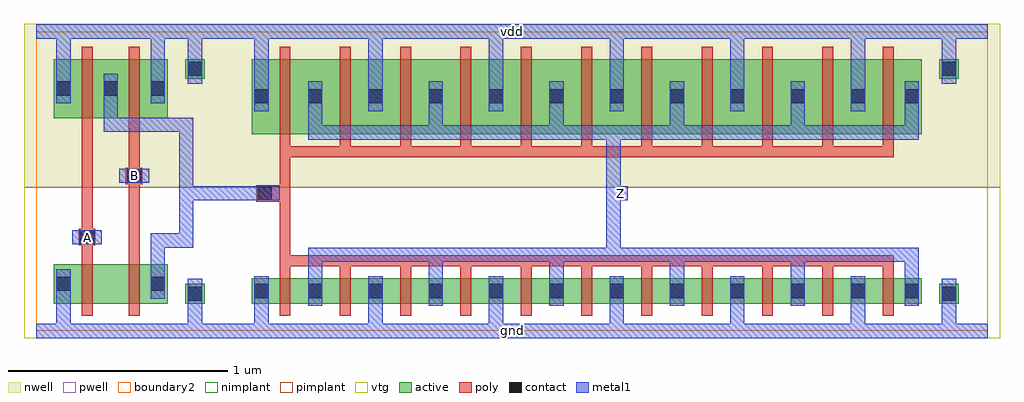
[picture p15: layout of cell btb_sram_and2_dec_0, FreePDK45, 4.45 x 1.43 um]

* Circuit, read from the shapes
.subckt btb_sram_and2_dec_0 A B Z gnd vdd
M1 btb_sram_pnand2_0/btb_sram_nmos_m1_w0_180_sm1_dactive_2/D A gnd gnd nfet w=0.18u l=0.05u
M2 btb_sram_pinv_0_1/A B btb_sram_pnand2_0/btb_sram_nmos_m1_w0_180_sm1_dactive_2/D gnd nfet w=0.18u l=0.05u
M3 Z btb_sram_pinv_0_1/A gnd gnd nfet w=0.115u l=0.05u m=11
M4 btb_sram_pinv_0_1/A A vdd vdd pfet w=0.27u l=0.05u
M5 vdd B btb_sram_pinv_0_1/A vdd pfet w=0.27u l=0.05u
M6 Z btb_sram_pinv_0_1/A vdd vdd pfet w=0.3425u l=0.05u m=11
.ends

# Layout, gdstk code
import gdstk
lib = gdstk.Library(unit=1e-6, precision=5e-10)
def R(c, l, rs):  # rectangles x0, y0, x1, y1
    for r in rs: c.add(gdstk.rectangle(r[:2], r[2:], *l))
def A(c, l, x, y, w, h, nx, ny, dx, dy):  # array of equal rectangles
    R(c, l, [(x+i*dx, y+j*dy, x+i*dx+w, y+j*dy+h) for i in range(nx) for j in range(ny)])
active = (1, 0)
pwell = (2, 0)
nwell = (3, 0)
nimplant = (4, 0)
pimplant = (5, 0)
vtg = (6, 0)
poly = (9, 0)
contact = (10, 0)
metal1 = (11, 0)
boundary2 = (239, 0)

btb_sram_contact_11 = lib.new_cell('btb_sram_contact_11')
R(btb_sram_contact_11, active, [(0,0.0225,0.09,0.1125)])
R(btb_sram_contact_11, nwell, [(-0.055,-0.0325,0.145,0.1675)])
R(btb_sram_contact_11, pimplant, [(0,0.0225,0.09,0.1125)])
R(btb_sram_contact_11, contact, [(0.0125,0.035,0.0775,0.1)])
R(btb_sram_contact_11, metal1, [(0.0125,0,0.0775,0.135)])
R(btb_sram_contact_11, boundary2, [(-0.055,-0.0325,0.145,0.1675)])

btb_sram_pmos_m1_w0_270_ = lib.new_cell('btb_sram_pmos_m1_w0_270_sm1_dm1')
R(btb_sram_pmos_m1_w0_270_, active, [(0,0,0.305,0.27)])
R(btb_sram_pmos_m1_w0_270_, nwell, [(-0.08,-0.08,0.385,0.35)])
R(btb_sram_pmos_m1_w0_270_, pimplant, [(0,0,0.305,0.27)])
R(btb_sram_pmos_m1_w0_270_, vtg, [(-0.08,-0.08,0.385,0.35)])
R(btb_sram_pmos_m1_w0_270_, poly, [(0.1275,-0.055,0.1775,0.325), (0.1275,-0.055,0.1775,0.325)])
R(btb_sram_pmos_m1_w0_270_, metal1, [(0.0125,0.0675,0.0775,0.2025), (0.2275,0.0675,0.2925,0.2025)])
R(btb_sram_pmos_m1_w0_270_, boundary2, [(-0.08,-0.08,0.385,0.35)])
btb_sram_pmos_m1_w0_270_.add(gdstk.Reference(btb_sram_contact_11, (0,0.0675)))
btb_sram_pmos_m1_w0_270_.add(gdstk.Reference(btb_sram_contact_11, (0.215,0.0675)))
btb_sram_pmos_m1_w0_270_.add(gdstk.Label('G', (0.1525,0.135), layer=9, texttype=0))
btb_sram_pmos_m1_w0_270_.add(gdstk.Label('S', (0.045,0.135), layer=11, texttype=0))
btb_sram_pmos_m1_w0_270_.add(gdstk.Label('D', (0.26,0.135), layer=11, texttype=0))

btb_sram_contact_10 = lib.new_cell('btb_sram_contact_10')
R(btb_sram_contact_10, active, [(0,0.0225,0.09,0.1125)])
R(btb_sram_contact_10, pwell, [(-0.055,-0.0325,0.145,0.1675)])
R(btb_sram_contact_10, nimplant, [(0,0.0225,0.09,0.1125)])
R(btb_sram_contact_10, contact, [(0.0125,0.035,0.0775,0.1)])
R(btb_sram_contact_10, metal1, [(0.0125,0,0.0775,0.135)])
R(btb_sram_contact_10, boundary2, [(-0.055,-0.0325,0.145,0.1675)])

btb_sram_nmos_m1_w0_180_ = lib.new_cell('btb_sram_nmos_m1_w0_180_sm1_dactive')
R(btb_sram_nmos_m1_w0_180_, active, [(0,0,0.305,0.18), (0.215,0.045,0.305,0.135)])
R(btb_sram_nmos_m1_w0_180_, pwell, [(-0.08,-0.08,0.385,0.26)])
R(btb_sram_nmos_m1_w0_180_, nimplant, [(0,0,0.305,0.18)])
R(btb_sram_nmos_m1_w0_180_, vtg, [(-0.08,-0.08,0.385,0.26)])
R(btb_sram_nmos_m1_w0_180_, poly, [(0.1275,-0.055,0.1775,0.235), (0.1275,-0.055,0.1775,0.235)])
R(btb_sram_nmos_m1_w0_180_, metal1, [(0.0125,0.0225,0.0775,0.1575)])
R(btb_sram_nmos_m1_w0_180_, boundary2, [(-0.08,-0.08,0.385,0.26)])
btb_sram_nmos_m1_w0_180_.add(gdstk.Reference(btb_sram_contact_10, (0,0.0225)))
btb_sram_nmos_m1_w0_180_.add(gdstk.Label('G', (0.1525,0.09), layer=9, texttype=0))
btb_sram_nmos_m1_w0_180_.add(gdstk.Label('S', (0.045,0.09), layer=11, texttype=0))
btb_sram_nmos_m1_w0_180_.add(gdstk.Label('D', (0.26,0.09), layer=1, texttype=0))

c_btb_sram_nmos_m1_w0_180_ = lib.new_cell('btb_sram_nmos_m1_w0_180_sactive_dm1')
R(c_btb_sram_nmos_m1_w0_180_, active, [(0,0,0.305,0.18), (0,0.045,0.09,0.135)])
R(c_btb_sram_nmos_m1_w0_180_, pwell, [(-0.08,-0.08,0.385,0.26)])
R(c_btb_sram_nmos_m1_w0_180_, nimplant, [(0,0,0.305,0.18)])
R(c_btb_sram_nmos_m1_w0_180_, vtg, [(-0.08,-0.08,0.385,0.26)])
R(c_btb_sram_nmos_m1_w0_180_, poly, [(0.1275,-0.055,0.1775,0.235), (0.1275,-0.055,0.1775,0.235)])
R(c_btb_sram_nmos_m1_w0_180_, metal1, [(0.2275,0.0225,0.2925,0.1575)])
R(c_btb_sram_nmos_m1_w0_180_, boundary2, [(-0.08,-0.08,0.385,0.26)])
c_btb_sram_nmos_m1_w0_180_.add(gdstk.Reference(btb_sram_contact_10, (0.215,0.0225)))
c_btb_sram_nmos_m1_w0_180_.add(gdstk.Label('G', (0.1525,0.09), layer=9, texttype=0))
c_btb_sram_nmos_m1_w0_180_.add(gdstk.Label('S', (0.045,0.09), layer=1, texttype=0))
c_btb_sram_nmos_m1_w0_180_.add(gdstk.Label('D', (0.26,0.09), layer=11, texttype=0))

btb_sram_contact_12 = lib.new_cell('btb_sram_contact_12')
R(btb_sram_contact_12, active, [(0,0.0225,0.09,0.1125)])
R(btb_sram_contact_12, nwell, [(-0.055,-0.0325,0.145,0.1675)])
R(btb_sram_contact_12, nimplant, [(0,0.0225,0.09,0.1125)])
R(btb_sram_contact_12, contact, [(0.0125,0.035,0.0775,0.1)])
R(btb_sram_contact_12, metal1, [(0.0125,0,0.0775,0.135)])
R(btb_sram_contact_12, boundary2, [(-0.055,-0.0325,0.145,0.1675)])

btb_sram_contact_13 = lib.new_cell('btb_sram_contact_13')
R(btb_sram_contact_13, active, [(0,0.0225,0.09,0.1125)])
R(btb_sram_contact_13, pwell, [(-0.055,-0.0325,0.145,0.1675)])
R(btb_sram_contact_13, pimplant, [(0,0.0225,0.09,0.1125)])
R(btb_sram_contact_13, contact, [(0.0125,0.035,0.0775,0.1)])
R(btb_sram_contact_13, metal1, [(0.0125,0,0.0775,0.135)])
R(btb_sram_contact_13, boundary2, [(-0.055,-0.0325,0.145,0.1675)])

btb_sram_contact_14 = lib.new_cell('btb_sram_contact_14')
R(btb_sram_contact_14, poly, [(0.03,0,0.105,0.075)])
R(btb_sram_contact_14, contact, [(0.035,0.005,0.1,0.07)])
R(btb_sram_contact_14, metal1, [(0,0.005,0.135,0.07)])
R(btb_sram_contact_14, boundary2, [(0,0,0.135,0.075)])

btb_sram_pnand2 = lib.new_cell('btb_sram_pnand2')
R(btb_sram_pnand2, pwell, [(-0.055,-0.0325,0.9575,0.655)])
R(btb_sram_pnand2, nwell, [(-0.055,0.655,0.9575,1.4)])
R(btb_sram_pnand2, vtg, [(-0.055,-0.0325,0.9575,0.655), (-0.055,0.655,0.9575,1.4)])
R(btb_sram_pnand2, poly, [(0.2075,0.36,0.2575,0.915), (0.4225,0.36,0.4725,0.915), (0.2075,0.39,0.2325,0.465), (0.4225,0.67,0.4475,0.745)])
R(btb_sram_pnand2, metal1, [(0,-0.0325,0.9025,0.0325), (0.0925,-0.0325,0.1575,0.1475), (0.6925,0,0.7575,0.17), (0.5225,0.2825,0.5875,0.4125), (0.5225,0.38,0.5875,0.445), (0.555,0.38,0.685,0.445), (0.6525,0.38,0.7175,0.445), (0.165,0.395,0.3,0.46), (0.6525,0.4125,0.7175,0.94), (0.38,0.675,0.515,0.74), (0.3075,0.9075,0.3725,0.9725), (0.34,0.9075,0.685,0.9725), (0.6525,0.9075,0.7175,0.9725), (0.3075,0.94,0.3725,1.0375), (0.0925,1.0375,0.1575,1.3975), (0.5225,1.0375,0.5875,1.3975), (0.6925,1.195,0.7575,1.365), (0,1.3325,0.9025,1.3975)])
R(btb_sram_pnand2, boundary2, [(0,0,0.9025,1.365), (0,0,0.9025,1.365)])
btb_sram_pnand2.add(gdstk.Reference(btb_sram_pmos_m1_w0_270_, (0.08,0.97)))
btb_sram_pnand2.add(gdstk.Reference(btb_sram_pmos_m1_w0_270_, (0.295,0.97)))
btb_sram_pnand2.add(gdstk.Reference(btb_sram_nmos_m1_w0_180_, (0.08,0.125)))
btb_sram_pnand2.add(gdstk.Reference(c_btb_sram_nmos_m1_w0_180_, (0.295,0.125)))
btb_sram_pnand2.add(gdstk.Reference(btb_sram_contact_12, (0.68,1.1275)))
btb_sram_pnand2.add(gdstk.Reference(btb_sram_contact_13, (0.68,0.1025)))
btb_sram_pnand2.add(gdstk.Reference(btb_sram_contact_14, (0.165,0.39)))
btb_sram_pnand2.add(gdstk.Reference(btb_sram_contact_14, (0.38,0.67)))
btb_sram_pnand2.add(gdstk.Label('Z', (0.685,0.94), layer=11, texttype=0))
btb_sram_pnand2.add(gdstk.Label('gnd', (0.451,0), layer=11, texttype=0))
btb_sram_pnand2.add(gdstk.Label('vdd', (0.451,1.365), layer=11, texttype=0))
btb_sram_pnand2.add(gdstk.Label('A', (0.2325,0.4275), layer=11, texttype=0))
btb_sram_pnand2.add(gdstk.Label('B', (0.4475,0.7075), layer=11, texttype=0))

btb_sram_pmos_m11_w0_343 = lib.new_cell('btb_sram_pmos_m11_w0_343_sm1_dm1_da_p')
R(btb_sram_pmos_m11_w0_343, active, [(0,0,3.055,0.3425)])
R(btb_sram_pmos_m11_w0_343, nwell, [(-0.08,-0.08,3.135,0.4225)])
R(btb_sram_pmos_m11_w0_343, pimplant, [(0,0,3.055,0.3425)])
R(btb_sram_pmos_m11_w0_343, vtg, [(-0.08,-0.08,3.135,0.4225)])
A(btb_sram_pmos_m11_w0_343, poly, 0.1275, -0.055, 0.05, 0.4525, 11, 1, 0.275, 0)
R(btb_sram_pmos_m11_w0_343, poly, [(0.1275,-0.105,2.9275,-0.055)])
A(btb_sram_pmos_m11_w0_343, metal1, 0.2575, 0.005, 0.065, 0.165, 5, 1, 0.55, 0)
A(btb_sram_pmos_m11_w0_343, metal1, 0.5325, 0.105, 0.065, 0.135, 5, 1, 0.55, 0)
R(btb_sram_pmos_m11_w0_343, metal1, [(0.2575,-0.025,3.0425,0.04), (2.9775,0.005,3.0425,0.17), (0.0125,0.105,0.0775,0.24)])
R(btb_sram_pmos_m11_w0_343, boundary2, [(-0.08,-0.105,3.135,0.4225)])
btb_sram_pmos_m11_w0_343.add(gdstk.Reference(btb_sram_contact_11, (0,0.105)))
btb_sram_pmos_m11_w0_343.add(gdstk.Reference(btb_sram_contact_11, (0.245,0.105)))
btb_sram_pmos_m11_w0_343.add(gdstk.Reference(btb_sram_contact_11, (0.52,0.105)))
btb_sram_pmos_m11_w0_343.add(gdstk.Reference(btb_sram_contact_11, (0.795,0.105)))
btb_sram_pmos_m11_w0_343.add(gdstk.Reference(btb_sram_contact_11, (1.07,0.105)))
btb_sram_pmos_m11_w0_343.add(gdstk.Reference(btb_sram_contact_11, (1.345,0.105)))
btb_sram_pmos_m11_w0_343.add(gdstk.Reference(btb_sram_contact_11, (1.62,0.105)))
btb_sram_pmos_m11_w0_343.add(gdstk.Reference(btb_sram_contact_11, (1.895,0.105)))
btb_sram_pmos_m11_w0_343.add(gdstk.Reference(btb_sram_contact_11, (2.17,0.105)))
btb_sram_pmos_m11_w0_343.add(gdstk.Reference(btb_sram_contact_11, (2.445,0.105)))
btb_sram_pmos_m11_w0_343.add(gdstk.Reference(btb_sram_contact_11, (2.72,0.105)))
btb_sram_pmos_m11_w0_343.add(gdstk.Reference(btb_sram_contact_11, (2.965,0.105)))
btb_sram_pmos_m11_w0_343.add(gdstk.Label('G', (1.5275,-0.08), layer=9, texttype=0))
btb_sram_pmos_m11_w0_343.add(gdstk.Label('S', (0.565,0.1725), layer=11, texttype=0))
btb_sram_pmos_m11_w0_343.add(gdstk.Label('S', (2.765,0.1725), layer=11, texttype=0))
btb_sram_pmos_m11_w0_343.add(gdstk.Label('S', (1.665,0.1725), layer=11, texttype=0))
btb_sram_pmos_m11_w0_343.add(gdstk.Label('S', (1.115,0.1725), layer=11, texttype=0))
btb_sram_pmos_m11_w0_343.add(gdstk.Label('S', (0.045,0.1725), layer=11, texttype=0))
btb_sram_pmos_m11_w0_343.add(gdstk.Label('S', (2.215,0.1725), layer=11, texttype=0))
btb_sram_pmos_m11_w0_343.add(gdstk.Label('D', (1.65,0.0075), layer=11, texttype=0))

btb_sram_nmos_m11_w0_115 = lib.new_cell('btb_sram_nmos_m11_w0_115_sm1_dm1_da_p')
R(btb_sram_nmos_m11_w0_115, active, [(0,0,3.055,0.115)])
R(btb_sram_nmos_m11_w0_115, pwell, [(-0.08,-0.08,3.135,0.195)])
R(btb_sram_nmos_m11_w0_115, nimplant, [(0,0,3.055,0.115)])
R(btb_sram_nmos_m11_w0_115, vtg, [(-0.08,-0.08,3.135,0.195)])
A(btb_sram_nmos_m11_w0_115, poly, 0.1275, -0.055, 0.05, 0.225, 11, 1, 0.275, 0)
R(btb_sram_nmos_m11_w0_115, poly, [(0.1275,0.17,2.9275,0.22)])
A(btb_sram_nmos_m11_w0_115, metal1, 0.5325, -0.01, 0.065, 0.135, 5, 1, 0.55, 0)
A(btb_sram_nmos_m11_w0_115, metal1, 0.2575, 0.0575, 0.065, 0.165, 5, 1, 0.55, 0)
R(btb_sram_nmos_m11_w0_115, metal1, [(0.0125,-0.01,0.0775,0.125), (2.9775,0.0575,3.0425,0.2225), (0.2575,0.19,3.0425,0.255)])
R(btb_sram_nmos_m11_w0_115, boundary2, [(-0.08,-0.08,3.135,0.255)])
btb_sram_nmos_m11_w0_115.add(gdstk.Reference(btb_sram_contact_10, (0,-0.01)))
btb_sram_nmos_m11_w0_115.add(gdstk.Reference(btb_sram_contact_10, (0.245,-0.01)))
btb_sram_nmos_m11_w0_115.add(gdstk.Reference(btb_sram_contact_10, (0.52,-0.01)))
btb_sram_nmos_m11_w0_115.add(gdstk.Reference(btb_sram_contact_10, (0.795,-0.01)))
btb_sram_nmos_m11_w0_115.add(gdstk.Reference(btb_sram_contact_10, (1.07,-0.01)))
btb_sram_nmos_m11_w0_115.add(gdstk.Reference(btb_sram_contact_10, (1.345,-0.01)))
btb_sram_nmos_m11_w0_115.add(gdstk.Reference(btb_sram_contact_10, (1.62,-0.01)))
btb_sram_nmos_m11_w0_115.add(gdstk.Reference(btb_sram_contact_10, (1.895,-0.01)))
btb_sram_nmos_m11_w0_115.add(gdstk.Reference(btb_sram_contact_10, (2.17,-0.01)))
btb_sram_nmos_m11_w0_115.add(gdstk.Reference(btb_sram_contact_10, (2.445,-0.01)))
btb_sram_nmos_m11_w0_115.add(gdstk.Reference(btb_sram_contact_10, (2.72,-0.01)))
btb_sram_nmos_m11_w0_115.add(gdstk.Reference(btb_sram_contact_10, (2.965,-0.01)))
btb_sram_nmos_m11_w0_115.add(gdstk.Label('G', (1.5275,0.195), layer=9, texttype=0))
btb_sram_nmos_m11_w0_115.add(gdstk.Label('S', (0.565,0.0575), layer=11, texttype=0))
btb_sram_nmos_m11_w0_115.add(gdstk.Label('S', (2.765,0.0575), layer=11, texttype=0))
btb_sram_nmos_m11_w0_115.add(gdstk.Label('S', (0.045,0.0575), layer=11, texttype=0))
btb_sram_nmos_m11_w0_115.add(gdstk.Label('S', (1.115,0.0575), layer=11, texttype=0))
btb_sram_nmos_m11_w0_115.add(gdstk.Label('S', (2.215,0.0575), layer=11, texttype=0))
btb_sram_nmos_m11_w0_115.add(gdstk.Label('S', (1.665,0.0575), layer=11, texttype=0))
btb_sram_nmos_m11_w0_115.add(gdstk.Label('D', (1.65,0.2225), layer=11, texttype=0))

btb_sram_pinv_0 = lib.new_cell('btb_sram_pinv_0')
R(btb_sram_pinv_0, pwell, [(-0.055,-0.0325,3.4925,0.655)])
R(btb_sram_pinv_0, nwell, [(-0.055,0.655,3.4925,1.4)])
R(btb_sram_pinv_0, vtg, [(-0.055,-0.0325,3.4925,0.655), (-0.055,0.655,3.4925,1.4)])
R(btb_sram_pinv_0, poly, [(0.2075,0.345,0.2575,0.7925), (0.14,0.59,0.2075,0.665)])
A(btb_sram_pinv_0, metal1, 0.6125, -0.0325, 0.065, 0.1475, 5, 1, 0.55, 0)
A(btb_sram_pinv_0, metal1, 0.6125, 1.0025, 0.065, 0.395, 5, 1, 0.55, 0)
R(btb_sram_pinv_0, metal1, [(0,-0.0325,3.4375,0.0325), (0.0925,-0.0325,0.1575,0.115), (3.2275,0,3.2925,0.17), (1.6975,0.315,1.7625,0.9375), (0.0725,0.595,0.2075,0.66), (1.73,0.595,1.795,0.66), (0.0925,1.0025,0.1575,1.3975), (3.2275,1.195,3.2925,1.365), (0,1.3325,3.4375,1.3975)])
R(btb_sram_pinv_0, boundary2, [(0,0,3.4375,1.365), (0,0,3.4375,1.365)])
btb_sram_pinv_0.add(gdstk.Reference(btb_sram_pmos_m11_w0_343, (0.08,0.8975)))
btb_sram_pinv_0.add(gdstk.Reference(btb_sram_nmos_m11_w0_115, (0.08,0.125)))
btb_sram_pinv_0.add(gdstk.Reference(btb_sram_contact_12, (3.215,1.1275)))
btb_sram_pinv_0.add(gdstk.Reference(btb_sram_contact_13, (3.215,0.1025)))
btb_sram_pinv_0.add(gdstk.Reference(btb_sram_contact_14, (0.0725,0.59)))
btb_sram_pinv_0.add(gdstk.Label('A', (0.14,0.6275), layer=11, texttype=0))
btb_sram_pinv_0.add(gdstk.Label('Z', (1.7625,0.6275), layer=11, texttype=0))
btb_sram_pinv_0.add(gdstk.Label('gnd', (1.719,0), layer=11, texttype=0))
btb_sram_pinv_0.add(gdstk.Label('vdd', (1.719,1.365), layer=11, texttype=0))

btb_sram_and2_dec_0 = lib.new_cell('btb_sram_and2_dec_0')
R(btb_sram_and2_dec_0, metal1, [(0,-0.0325,4.34,0.0325), (0.165,0.395,0.3,0.46), (0.6525,0.595,0.7175,0.66), (0.685,0.595,1.0425,0.66), (2.6325,0.595,2.6975,0.66), (0.6525,0.6275,0.7175,0.94), (0.38,0.675,0.515,0.74), (0,1.3325,4.34,1.3975)])
R(btb_sram_and2_dec_0, boundary2, [(0,0,4.34,1.365)])
btb_sram_and2_dec_0.add(gdstk.Reference(btb_sram_pnand2, (0,0)))
btb_sram_and2_dec_0.add(gdstk.Reference(btb_sram_pinv_0, (0.9025,0)))
btb_sram_and2_dec_0.add(gdstk.Label('Z', (2.665,0.6275), layer=11, texttype=0))
btb_sram_and2_dec_0.add(gdstk.Label('A', (0.2325,0.4275), layer=11, texttype=0))
btb_sram_and2_dec_0.add(gdstk.Label('B', (0.4475,0.7075), layer=11, texttype=0))
btb_sram_and2_dec_0.add(gdstk.Label('gnd', (2.17,0), layer=11, texttype=0))
btb_sram_and2_dec_0.add(gdstk.Label('vdd', (2.17,1.365), layer=11, texttype=0))

lib.write_gds('btb_sram_and2_dec_0.gds')
